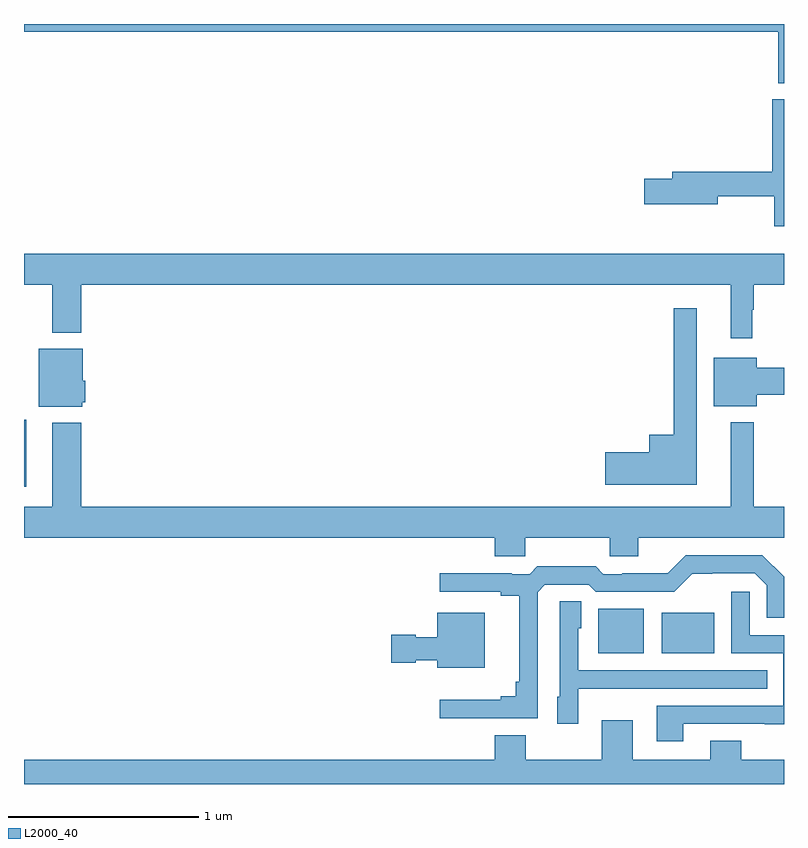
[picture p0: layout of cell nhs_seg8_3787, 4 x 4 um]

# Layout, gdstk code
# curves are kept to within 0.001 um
import gdstk
lib = gdstk.Library(unit=1e-6, precision=1e-09)
def R(c, l, rs):  # rectangles x0, y0, x1, y1
    for r in rs: c.add(gdstk.rectangle(r[:2], r[2:], *l))
def P(c, l, *ps):  # polygons
    for p in ps: c.add(gdstk.Polygon(p, *l))
L2000_40 = (2000, 40)

nhs_seg8_3787 = lib.new_cell('nhs_seg8_3787')
R(nhs_seg8_3787, L2000_40, [(348.023,1086.587,348.262,1086.823), (348.356,1086.587,348.634,1086.802), (345,1087.464,345.013,1087.816)])
P(nhs_seg8_3787, L2000_40, [(349,1089.9),(345,1089.9),(345,1089.86),(348.969,1089.86),(348.969,1089.589),(349,1089.589)],
  [(349,1089.504),(348.939,1089.504),(348.939,1089.122),(348.413,1089.122),(348.413,1089.086),(348.264,1089.086),(348.264,1088.951),(348.652,1088.951),(348.652,1088.994),(348.949,1088.994),(348.949,1088.835),(349,1088.835)],
  [(348.833,1088.396),(348.841,1088.396),(348.841,1088.528),(349,1088.528),(349,1088.692),(345,1088.692),(345,1088.528),(345.149,1088.528),(345.149,1088.276),(345.302,1088.276),(345.302,1088.528),(348.719,1088.528),(348.719,1088.247),(348.833,1088.247)],
  [(348.541,1088.404),(348.42,1088.404),(348.42,1087.738),(348.29,1087.738),(348.29,1087.646),(348.06,1087.646),(348.06,1087.475),(348.541,1087.475)],
  [(345.306,1087.908),(345.322,1087.908),(345.322,1088.022),(345.31,1088.022),(345.31,1088.191),(345.077,1088.191),(345.077,1087.886),(345.306,1087.886)],
  [(348.856,1087.949),(349,1087.949),(349,1088.091),(348.856,1088.091),(348.856,1088.143),(348.629,1088.143),(348.629,1087.889),(348.856,1087.889)],
  [(347.637,1087.196),(348.082,1087.196),(348.082,1087.098),(348.232,1087.098),(348.232,1087.196),(349,1087.196),(349,1087.36),(348.841,1087.36),(348.841,1087.804),(348.719,1087.804),(348.719,1087.36),(345.302,1087.36),(345.302,1087.801),(345.149,1087.801),(345.149,1087.36),(345,1087.36),(345,1087.196),(347.477,1087.196),(347.477,1087.098),(347.637,1087.098)],
  [(347.703,1086.909),(347.742,1086.948),(347.973,1086.948),(348.009,1086.912),(348.423,1086.912),(348.518,1087.007),(348.846,1087.008),(348.909,1086.945),(348.909,1086.774),(349,1086.774),(349,1086.991),(348.886,1087.104),(348.483,1087.104),(348.389,1087.01),(348.148,1087.01),(348.148,1087.005),(348.048,1087.005),(348.009,1087.045),(347.701,1087.045),(347.661,1087.005),(347.567,1087.005),(347.567,1087.01),(347.187,1087.01),(347.187,1086.912),(347.51,1086.912),(347.51,1086.89),(347.606,1086.89),(347.606,1086.439),(347.587,1086.439),(347.587,1086.362),(347.51,1086.362),(347.51,1086.343),(347.187,1086.343),(347.187,1086.246),(347.703,1086.246)],
  [(348.469,1086.216),(348.899,1086.216),(348.899,1086.215),(349,1086.215),(349,1086.684),(348.819,1086.684),(348.819,1086.913),(348.723,1086.913),(348.723,1086.588),(348.996,1086.588),(348.996,1086.312),(348.329,1086.312),(348.329,1086.126),(348.469,1086.126)],
  [(347.916,1086.401),(348.233,1086.401),(348.233,1086.402),(348.911,1086.402),(348.911,1086.498),(347.916,1086.498),(347.916,1086.72),(347.932,1086.72),(347.932,1086.863),(347.82,1086.863),(347.82,1086.36),(347.807,1086.36),(347.807,1086.216),(347.916,1086.216)],
  [(347.425,1086.802),(347.174,1086.802),(347.174,1086.673),(347.061,1086.673),(347.061,1086.686),(346.932,1086.686),(346.932,1086.539),(347.061,1086.539),(347.061,1086.551),(347.174,1086.551),(347.174,1086.512),(347.425,1086.512)],
  [(349,1086.028),(348.775,1086.028),(348.775,1086.127),(348.611,1086.127),(348.611,1086.028),(348.205,1086.028),(348.205,1086.235),(348.041,1086.235),(348.041,1086.028),(347.641,1086.028),(347.641,1086.157),(347.477,1086.157),(347.477,1086.028),(345,1086.028),(345,1085.9),(349,1085.9)])

lib.write_gds('nhs_seg8_3787.gds')
